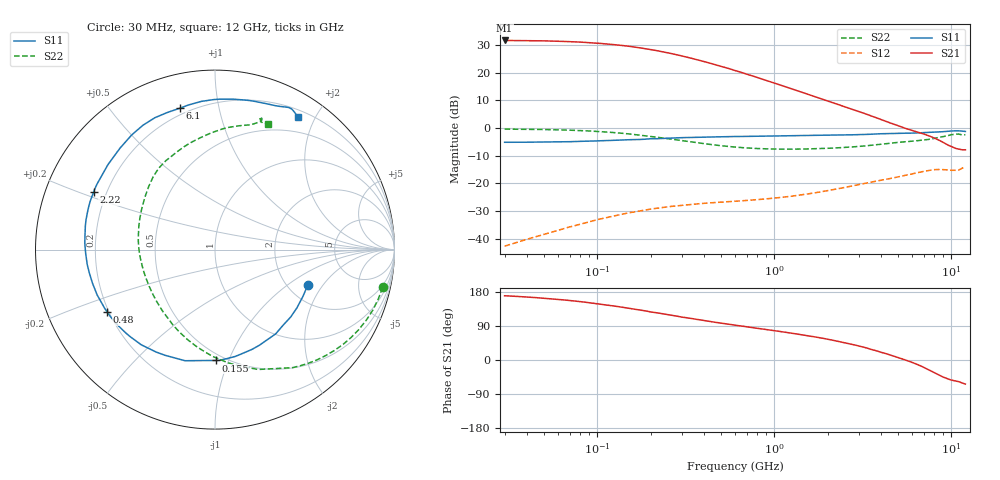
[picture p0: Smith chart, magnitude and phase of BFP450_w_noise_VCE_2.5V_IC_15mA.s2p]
! (c) 2015  Infineon Technologies AG, Munich
! Infineon Technologies  Discrete & RF Semiconductors
! BFP450
! VCE =  2.5 V,  IC =  15 mA
! Common Emitter S-Parameters:  Nov 2015
# GHz  S  MA  R  50
!  f  S11  S21  S12  S22
! GHz  MAG  ANG  MAG  ANG  MAG  ANG  MAG  ANG
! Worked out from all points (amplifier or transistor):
!   239 points, 30 MHz to 12 GHz, reference 50 ohm
!   highest |S21| = 31.7 dB at 30 MHz (marker M1)
!   |S21| within 3 dB of that: start of sweep to 187.6 MHz
!   unconditionally stable (mu >= 1): 1.827 GHz to end of sweep
!   at 300 MHz: K = 0.23, MSG = 27.0 dB, |S12| = -27.9 dB
!   at 1.88 GHz: K = 1.01, MAG = 16.0 dB, |S12| = -22.9 dB
!   at 12 GHz: K = 1.12, MAG = 0.9 dB, |S12| = -13.9 dB
!   lowest NFmin = 1.04 dB at 450 MHz
!   S11 on the Smith chart (normalised r, x): 30 MHz: 2.54, -1.45; 155 MHz: 0.45, -0.90; 480 MHz: 0.19, -0.26; 2.22 GHz: 0.15, +0.22; 6.1 GHz: 0.17, +0.77; 12 GHz: 0.29, +1.77
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0.03  0.5536 -21.0  38.51 169.5  0.0073 80.9  0.9578 -12.7
0.04  0.555 -28.0  38.2 166.2  0.0097 78.4  0.9503 -16.9
0.055  0.5616 -38.6  37.59 161.5  0.013 74.3  0.9353 -23.0
0.065  0.565 -44.9  36.96 158.5  0.0152 72.1  0.9227 -27.1
0.085  0.5788 -57.0  35.56 152.7  0.0191 67.5  0.8942 -34.8
0.11  0.5931 -69.8  33.56 146.0  0.0236 61.8  0.8536 -43.8
0.12  0.5983 -74.9  32.72 143.4  0.0251 60.0  0.8369 -47.2
0.155  0.6176 -89.7  29.89 135.7  0.0297 53.9  0.7773 -57.9
0.2  0.6413 -105.1  26.36 126.9  0.0342 47.7  0.7093 -70.3
0.24  0.6513 -115.3  23.67 121.1  0.037 43.6  0.6562 -79.3
0.3  0.671 -127.8  20.23 113.3  0.0401 39.1  0.5942 -91.5
0.34  0.6769 -134.1  18.36 109.5  0.0416 36.9  0.5613 -98.1
0.4  0.6862 -142.0  16.01 104.0  0.0435 34.4  0.5234 -107.2
0.48  0.694 -150.0  13.62 98.6  0.0453 32.4  0.4871 -117.1
0.6  0.7036 -159.0  10.99 91.8  0.0475 30.8  0.4536 -129.1
0.8  0.7121 -169.4  8.229 83.6  0.0507 30.2  0.4269 -143.9
1  0.7196 -177.0  6.51 77.3  0.0541 30.6  0.4174 -154.8
1.64  0.738 166.3  3.842 62.1  0.0662 31.9  0.4218 -177.9
2.22  0.7488 154.6  2.763 50.7  0.0784 31.0  0.4368 167.5
4.5  0.8008 120.1  1.244 13.3  0.122 17.1  0.5331 130.1
6.1  0.812 103.8  0.89 -7.5  0.1496 5.1  0.5823 111.9
12  0.8696 57.9  0.405 -63.6  0.2012 -39.4  0.7584 66.9
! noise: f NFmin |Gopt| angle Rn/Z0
0.45  1.04  0.28  177  0.05
0.9  1.09  0.34  174  0.07
1.9  1.26  0.48  -168  0.06
2.4  1.42  0.51  -157  0.08
